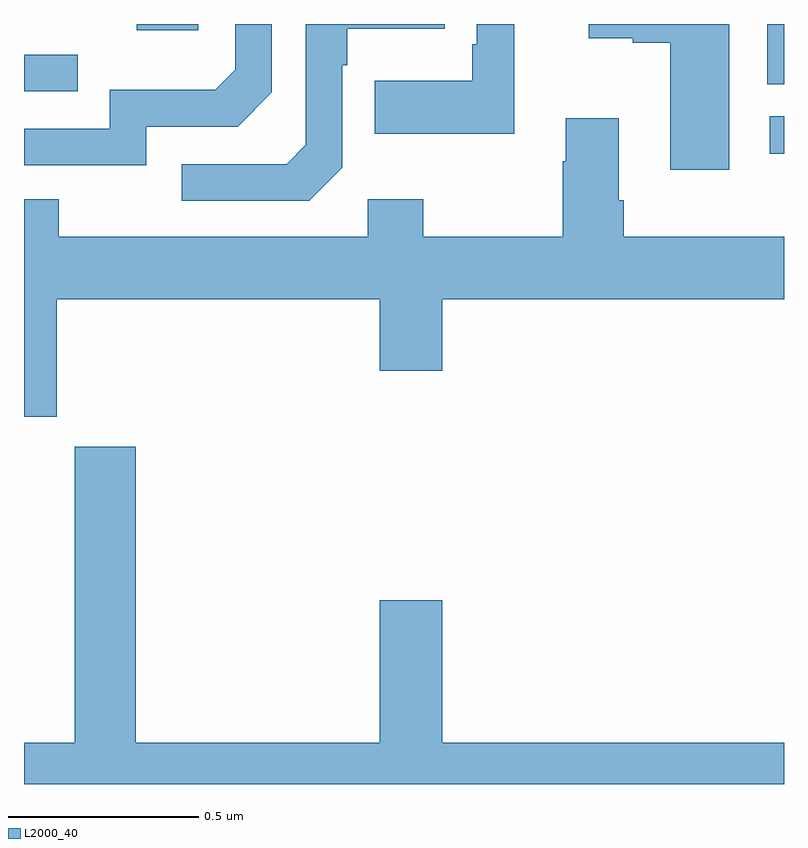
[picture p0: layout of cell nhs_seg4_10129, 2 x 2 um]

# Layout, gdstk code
import gdstk
lib = gdstk.Library(unit=1e-6, precision=1e-09)
def R(c, l, rs):  # rectangles x0, y0, x1, y1
    for r in rs: c.add(gdstk.rectangle(r[:2], r[2:], *l))
def P(c, l, *ps):  # polygons
    for p in ps: c.add(gdstk.Polygon(p, *l))
L2000_40 = (2000, 40)

nhs_seg4_10129 = lib.new_cell('nhs_seg4_10129')
R(nhs_seg4_10129, L2000_40, [(237.963,774.559,238,774.657), (236,774.723,236.141,774.819), (237.956,774.742,238,774.9), (236.297,774.884,236.458,774.9)])
P(nhs_seg4_10129, L2000_40, [(237.29,774.9),(237.192,774.9),(237.192,774.847),(237.18,774.847),(237.18,774.751),(236.923,774.751),(236.923,774.611),(237.29,774.611)],
  [(236.838,774.522),(236.838,774.791),(236.851,774.791),(236.851,774.887),(237.107,774.887),(237.107,774.9),(236.742,774.9),(236.742,774.582),(236.691,774.531),(236.415,774.531),(236.415,774.435),(236.751,774.435)],
  [(236.322,774.63),(236.562,774.63),(236.652,774.72),(236.652,774.9),(236.556,774.9),(236.556,774.78),(236.503,774.727),(236.226,774.727),(236.226,774.624),(236,774.624),(236,774.528),(236.322,774.528)],
  [(237.856,774.9),(237.486,774.9),(237.486,774.863),(237.602,774.863),(237.602,774.851),(237.701,774.851),(237.701,774.516),(237.856,774.516)],
  [(236.086,774.176),(236.936,774.176),(236.936,773.988),(237.1,773.988),(237.1,774.176),(238,774.176),(238,774.34),(237.578,774.34),(237.578,774.436),(237.565,774.436),(237.565,774.652),(237.425,774.652),(237.425,774.539),(237.418,774.539),(237.418,774.34),(237.051,774.34),(237.051,774.439),(236.904,774.439),(236.904,774.34),(236.091,774.34),(236.091,774.439),(236,774.439),(236,773.867),(236.086,773.867)],
  [(238,773.008),(237.1,773.008),(237.1,773.383),(236.936,773.383),(236.936,773.008),(236.294,773.008),(236.294,773.788),(236.134,773.788),(236.134,773.008),(236,773.008),(236,772.9),(238,772.9)])

lib.write_gds('nhs_seg4_10129.gds')
